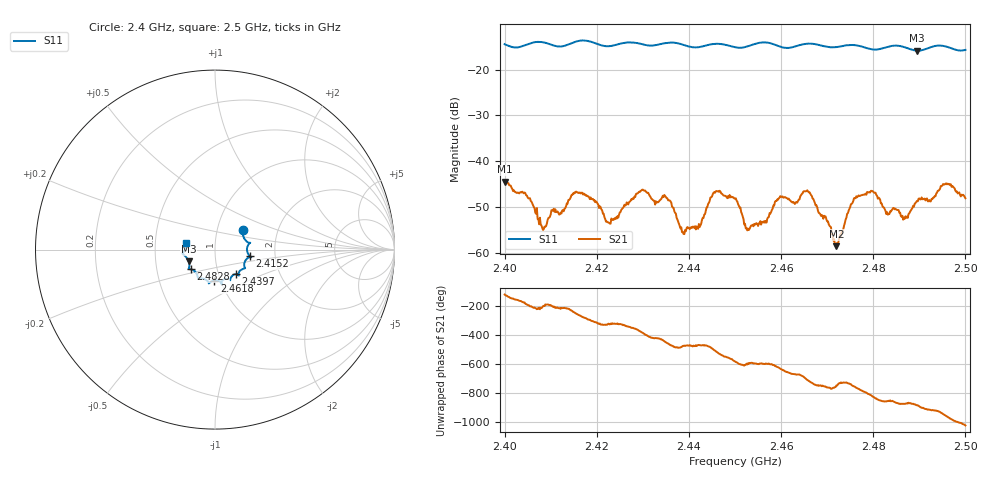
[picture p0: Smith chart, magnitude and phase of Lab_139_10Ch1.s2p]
# Hz S RI R 50
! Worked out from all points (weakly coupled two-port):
!   601 points, 2.4 GHz to 2.5 GHz, reference 50 ohm
!   highest |S21| = -44.44 dB at 2.4 GHz (marker M1); lowest = -58.4 dB at 2.472 GHz (marker M2)
!   lowest |S11| = -15.9 dB at 2.4895 GHz (marker M3), VSWR 1.38, Z = 37 - j5.02 ohm
!   |S11| at or under -10 dB: start of sweep to end of sweep
!   S12 and S22 are empty: the file has one direction only
!   S11 on the Smith chart (normalised r, x): 2.4 GHz: 1.33, +0.30; 2.4152 GHz: 1.48, -0.12; 2.4397 GHz: 1.21, -0.34; 2.4618 GHz: 0.94, -0.33; 2.4828 GHz: 0.74, -0.17; 2.5 GHz: 0.72, +0.06
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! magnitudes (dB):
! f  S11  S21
! 2.4 GHz  -14.5  -44.4
! 2.4085 GHz  -14.1  -54.7
! 2.4152 GHz  -14.0  -46.8
! 2.4167 GHz  -13.7  -46.8
! 2.4225 GHz  -14.9  -53.3
! 2.4297 GHz  -14.4  -46.3
! 2.4333 GHz  -14.6  -48.9
! 2.4397 GHz  -14.9  -54.3
! 2.4423 GHz  -15.1  -54.3
! 2.4457 GHz  -14.4  -46.8
! 2.45 GHz  -15.1  -48.1
! 2.4528 GHz  -14.9  -54.6
! 2.4618 GHz  -15.3  -48.4
! 2.4667 GHz  -14.4  -47.5
! 2.472 GHz  -15.1  -58.4
! 2.4763 GHz  -14.7  -47.6
! 2.48 GHz  -15.6  -46.6
! 2.4828 GHz  -15.1  -51.4
! 2.4833 GHz  -15.0  -51.4
! 2.4895 GHz  -15.9  -48.6
! 2.4957 GHz  -15.0  -44.9
! 2.5 GHz  -15.7  -48.0
